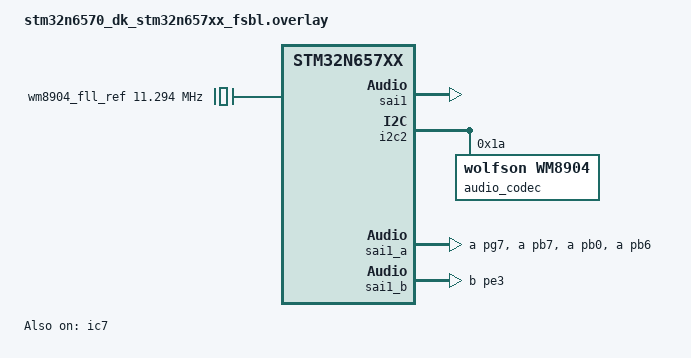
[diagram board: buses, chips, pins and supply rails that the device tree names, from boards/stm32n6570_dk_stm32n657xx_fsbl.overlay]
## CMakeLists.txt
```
# SPDX-License-Identifier: Apache-2.0

cmake_minimum_required(VERSION 3.20.0)

find_package(Zephyr REQUIRED HINTS $ENV{ZEPHYR_BASE})
project(echo-udp)

target_sources(app PRIVATE src/main.c)
```

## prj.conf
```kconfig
CONFIG_I2S=y
CONFIG_MAIN_STACK_SIZE=8192

CONFIG_LOG=y
#CONFIG_I2S_LOG_LEVEL_DBG=y
CONFIG_AUDIO_CODEC_LOG_LEVEL_DBG=y
```

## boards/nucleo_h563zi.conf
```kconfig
# SPDX-FileCopyrightText: Copyright The Zephyr Project Contributors
# SPDX-License-Identifier: Apache-2.0

CONFIG_HEAP_MEM_POOL_SIZE=8192
CONFIG_SHELL=y
CONFIG_I2S_SHELL=y
```

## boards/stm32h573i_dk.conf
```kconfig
# Copyright 2026 Mario Paja
# SPDX-License-Identifier: Apache-2.0

CONFIG_HEAP_MEM_POOL_SIZE=4096
CONFIG_GPIO=y
CONFIG_AUDIO=y
CONFIG_AUDIO_CODEC=y

CONFIG_NOCACHE_MEMORY=y

CONFIG_SHELL=y
CONFIG_I2S_SHELL=y
```

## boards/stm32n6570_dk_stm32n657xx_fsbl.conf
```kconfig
# Copyright 2026 Mario Paja
# SPDX-License-Identifier: Apache-2.0

CONFIG_HEAP_MEM_POOL_SIZE=4096
CONFIG_AUDIO=y
CONFIG_AUDIO_CODEC=y

CONFIG_NOCACHE_MEMORY=y

CONFIG_SHELL=y
CONFIG_I2S_SHELL=y

CONFIG_CLOCK_CONTROL_FIXED_RATE_CLOCK=y
```

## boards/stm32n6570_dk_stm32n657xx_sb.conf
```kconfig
# SPDX-FileCopyrightText: Copyright (c) 2026 STMicroelectronics
# SPDX-License-Identifier: Apache-2.0

CONFIG_HEAP_MEM_POOL_SIZE=4096
CONFIG_AUDIO=y
CONFIG_AUDIO_CODEC=y

CONFIG_NOCACHE_MEMORY=y

CONFIG_SHELL=y
CONFIG_I2S_SHELL=y
```

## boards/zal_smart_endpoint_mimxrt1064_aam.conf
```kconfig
##################### I2S Configuration #####################
CONFIG_DMA_TCD_QUEUE_SIZE=100
CONFIG_I2S_RX_BLOCK_COUNT=50
CONFIG_I2S_TX_BLOCK_COUNT=50

##################### Interface Configuration #####################
CONFIG_I2C=y
CONFIG_AUDIO=y
CONFIG_AUDIO_CODEC=y
```

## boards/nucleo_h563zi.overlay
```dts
/*
 * Copyright (c) 2025 ZAL Zentrum für Angewandte Luftfahrtforschung GmbH
 * Copyright (c) 2025 Mario Paja
 *
 * SPDX-License-Identifier: Apache-2.0
 */

/ {
	aliases {
		i2s-tx = &sai1_a;
	};
};

&pll3 {
	/* 44.1 KHz (0.0% Error) */
	div-m = <1>;
	mul-n = <35>;
	div-q = <2>;
	div-r = <2>;
	div-p = <25>;
	clocks = <&clk_hse>;
	status = "okay";
};

&sai1 {
	status = "okay";
	clocks = <&rcc STM32_CLOCK(APB2, 21)>,
		 <&rcc STM32_SRC_PLL3_P SAI1_SEL(2)>;
};

// TX: Master
i2s_tx: &sai1_a {
	pinctrl-0 = <&sai1_mclk_a_pe2 &sai1_sd_a_pe6
		     &sai1_fs_a_pe4 &sai1_sck_a_pe5>;
	pinctrl-names = "default";
	status = "okay";

	mclk-enable;
	mclk-divider = "div-256";
	dma-names = "tx";
};

// RX: Synchronous Slave
i2s_rx: &sai1_b {
	status = "okay";
	pinctrl-0 = <&sai1_sd_b_pe3>;
	pinctrl-names = "default";

	synchronous;
	dma-names = "rx";
	fifo-threshold="empty";
};



/*i2s_tx: &sai1_a {
	status = "okay";
	pinctrl-0 = <&sai1_sd_a_pe6>;
	pinctrl-names = "default";

	synchronous;
	dma-names = "tx";
	fifo-threshold="empty";
};


i2s_rx: &sai1_b {
	status = "okay";
	pinctrl-0 = <&sai1_mclk_b_pf7 &sai1_fs_b_pf9 &sai1_sck_b_pf8 &sai1_sd_b_pe3>;
	pinctrl-names = "default";

	mclk-enable;
	mclk-divider = "div-256";
	dma-names = "rx";
	fifo-threshold="empty";
};*/
```

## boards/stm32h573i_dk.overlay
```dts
/*
 * Copyright (c) 2026 Mario Paja
 *
 * SPDX-License-Identifier: Apache-2.0
 */

i2s_tx: &sai2_a {};

i2s_rx: &sai2_b {};
```

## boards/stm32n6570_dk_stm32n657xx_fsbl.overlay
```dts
/*
 * Copyright (c) 2026 Mario Paja
 * SPDX-License-Identifier: Apache-2.0
 */

/*
 * SAI1:
 * f_IC7 = 8.214 MHz (1.536 GHz / 187, +0.27%)
 * Suitable for 16 kHz audio sample rates with div-512 SAI MCLK divider
 * 8.214 MHz / 512 = 16.043 kHz
 *
 * f_IC7 = 11.294 MHz (1.536 GHz / 136, +0.04%)
 * Suitable for 44.1 kHz audio sample rates with div-256 SAI MCLK divider
 * 11.294 MHz / 256 = 44.117 kHz
 *
 * f_IC7 = 12.288 MHz (1.536 GHz / 125, 0.00%)
 * Suitable for 48 kHz audio sample rates with div-256 SAI MCLK divider
 * 12.288 MHz / 256 = 48.000 kHz
 */
&ic7 {
	status = "okay";
	pll-src = <2>; /* 4 */
	ic-div = <136>; /* 106 */
};

&sai1 {
	status = "okay";
	clocks = <&rcc STM32_CLOCK(APB2, 21)>,
		<&rcc STM32_SRC_IC7 SAI1_SEL(2)>;
	clock-names = "sai_ck", "sai_ker_ck";
};

&gpdma1 {
	status = "okay";
};

/ {
	wm8904_fll_ref: sai1a-mclk {
		compatible = "fixed-clock";

		/* 1.536 GHz / 136 */
		clock-frequency = <11294117>;
		#clock-cells = <0>;
	};
};

&i2c2 {
	audio_codec: wm8904@1a {
		compatible = "wolfson,wm8904";
		reg = <0x1a>;
		status = "okay";

		input-pga-select = <1>;
		wolfson,mic-bias-voltage = "avdd-9-10";
		
		clock-source = "FLL";
		clocks = <&wm8904_fll_ref>;
		clock-names = "mclk";
	};
};


i2s_tx: &sai1_a {
	status = "okay";
	pinctrl-0 = <&sai1_mclk_a_pg7 &sai1_sd_a_pb7
	     &sai1_fs_a_pb0 &sai1_sck_a_pb6>;
	pinctrl-names = "default";

	mclk-enable;
	mclk-divider = "div-256";
	dma-names = "tx";
	// fifo-threshold="empty";
};

i2s_rx: &sai1_b {
	status = "okay";
	pinctrl-0 = <&sai1_sd_b_pe3>;
	pinctrl-names = "default";

	synchronous;
	dma-names = "rx";
	// fifo-threshold="empty";
};
```

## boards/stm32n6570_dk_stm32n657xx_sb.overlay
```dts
/*
 * SPDX-FileCopyrightText: Copyright (c) 2026 STMicroelectronics
 * SPDX-License-Identifier: Apache-2.0
 */

/*
 * SAI1:
 * f_IC7 = 8.214 MHz (1.536 GHz / 187, +0.27%)
 * Suitable for 16 kHz audio sample rates with div-512 SAI MCLK divider
 * 8.214 MHz / 512 = 16.043 kHz
 *
 * f_IC7 = 11.294 MHz (1.536 GHz / 136, +0.04%)
 * Suitable for 44.1 kHz audio sample rates with div-256 SAI MCLK divider
 * 11.294 MHz / 256 = 44.117 kHz
 *
 * f_IC7 = 12.288 MHz (1.536 GHz / 125, 0.00%)
 * Suitable for 48 kHz audio sample rates with div-256 SAI MCLK divider
 * 12.288 MHz / 256 = 48.000 kHz
 */
&ic7 {
	status = "okay";
	pll-src = <2>; /* 4 */
	ic-div = <136>; /* 106 */
};

&sai1 {
	status = "okay";
	clocks = <&rcc STM32_CLOCK(APB2, 21)>,
		<&rcc STM32_SRC_IC7 SAI1_SEL(2)>;
	clock-names = "sai_ck", "sai_ker_ck";
};

&gpdma1 {
	status = "okay";
};

&i2c2 {
	audio_codec: wm8904@1a {
		compatible = "wolfson,wm8904";
		reg = <0x1a>;
		status = "okay";

		input-pga-select = <1>;
		wolfson,mic-bias-voltage = "avdd-9-10";
		
		fs-ratio = <256>;

		/* Dedend on #112540 */
		// fll-ref-clk = <11289660>;
		// clock-source = "FLL";
	};
};


i2s_tx: &sai1_a {
	status = "okay";
	pinctrl-0 = <&sai1_mclk_a_pg7 &sai1_sd_a_pb7
	     &sai1_fs_a_pb0 &sai1_sck_a_pb6>;
	pinctrl-names = "default";

	mclk-enable;
	mclk-divider = "div-256";
	dma-names = "tx";
	// fifo-threshold="empty";
};

i2s_rx: &sai1_b {
	status = "okay";
	pinctrl-0 = <&sai1_sd_b_pe3>;
	pinctrl-names = "default";

	synchronous;
	dma-names = "rx";
	// fifo-threshold="empty";
};
```

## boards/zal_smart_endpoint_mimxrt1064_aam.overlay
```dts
/*
 * Copyright (c) 2023 ZAL Zentrum für Angewandte Luftfahrtforschung GmbH
 * Copyright (c) 2023 Mario Paja
 */

audio_codec: &wm8904 {
	compatible = "wolfson,wm8904";
	reg = <0x1a>;

	//clock-source = "MCLK";
	clock-source = "FLL";

	clocks = <&ccm IMX_CCM_SAI1_CLK 0x7C 18>;
	clock-names = "mclk";
};

i2s_tx: &sai_tx{};
i2s_rx: &sai_rx{};
```

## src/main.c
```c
/*
 * Copyright (c) 2023 ZAL Zentrum für Angewandte Luftfahrtforschung GmbH
 * Copyright (c) 2023 Mario Paja
 */

#include <zephyr/logging/log.h>
LOG_MODULE_REGISTER(main, LOG_LEVEL_DBG);

#include <zephyr/kernel.h>
#include <zephyr/linker/sections.h>
#include <errno.h>
#include <stdio.h>
#include <string.h>

#include <zephyr/drivers/i2s.h>
#include <zephyr/audio/codec.h>
#include <zephyr/drivers/gpio.h>
#include <zephyr/device.h>

#include "math.h"

const struct device *const i2s_dev_rx = DEVICE_DT_GET(DT_NODELABEL(i2s_rx));
const struct device *const i2s_dev_tx = DEVICE_DT_GET(DT_NODELABEL(i2s_tx));

#ifdef CONFIG_AUDIO_CODEC
const struct device *const codec_dev = DEVICE_DT_GET(DT_NODELABEL(audio_codec));
#endif

#define SAMPLE_FREQUENCY   (44100)
#define SAMPLE_BIT_WIDTH   (16)
#define NUMBER_OF_CHANNELS (2U)
#define SAMPLES_PER_BLOCK  (256 * NUMBER_OF_CHANNELS)
#define INITIAL_BLOCKS     4
#define TIMEOUT            (1000)

#define NUM_BLOCKS INITIAL_BLOCKS * 2

#define BLOCK_SIZE (SAMPLES_PER_BLOCK * sizeof(int16_t))

static char __nocache __aligned(WB_UP(32)) _rxtx_mem_slab_buff[(NUM_BLOCKS)*WB_UP(BLOCK_SIZE)];
static char __nocache __aligned(WB_UP(32)) _rx_mem_slab_buff[(NUM_BLOCKS)*WB_UP(BLOCK_SIZE)];
static char __nocache __aligned(WB_UP(32)) _tx_mem_slab_buff[(NUM_BLOCKS)*WB_UP(BLOCK_SIZE)];

static STRUCT_SECTION_ITERABLE(k_mem_slab, rxtx_mem_slab) =
	Z_MEM_SLAB_INITIALIZER(rxtx_mem_slab, _rxtx_mem_slab_buff, WB_UP(BLOCK_SIZE), NUM_BLOCKS);

static STRUCT_SECTION_ITERABLE(k_mem_slab,
			       rx_mem_slab) = Z_MEM_SLAB_INITIALIZER(rx_mem_slab, _rx_mem_slab_buff,
								     WB_UP(BLOCK_SIZE), NUM_BLOCKS);

static STRUCT_SECTION_ITERABLE(k_mem_slab,
			       tx_mem_slab) = Z_MEM_SLAB_INITIALIZER(tx_mem_slab, _tx_mem_slab_buff,
								     WB_UP(BLOCK_SIZE), NUM_BLOCKS);

#define I2S_FORMAT I2S_FMT_DATA_FORMAT_I2S

static struct i2s_config i2s_rx_cfg;
static struct i2s_config i2s_tx_cfg;

static int configure_i2s_stream(const struct device *dev, enum i2s_dir dir, i2s_opt_t options,
				struct i2s_config *cfg)
{
	int ret;

	cfg->word_size = SAMPLE_BIT_WIDTH;
	cfg->channels = NUMBER_OF_CHANNELS;
	cfg->format = I2S_FORMAT;
	cfg->options = options;
	cfg->frame_clk_freq = SAMPLE_FREQUENCY;
	cfg->block_size = BLOCK_SIZE;

	cfg->timeout = TIMEOUT;

	// Separate Slabs
	if (dir == I2S_DIR_TX) {
		cfg->mem_slab = &tx_mem_slab;
	} else {
		cfg->mem_slab = &rx_mem_slab;
	}

	ret = i2s_configure(dev, dir, cfg);
	if (ret != 0) {
		LOG_ERR("i2s_configure failed for dir %d with %d error", dir, ret);
	}

	return ret;
}

#define I2S_CONTROLLER I2S_OPT_BIT_CLK_CONTROLLER | I2S_OPT_FRAME_CLK_CONTROLLER
#define I2S_TARGET     I2S_OPT_BIT_CLK_TARGET | I2S_OPT_FRAME_CLK_TARGET

int main(void)
{
	int ret;

	/* configure i2s for audio playback */
	configure_i2s_stream(i2s_dev_tx, I2S_DIR_TX, I2S_CONTROLLER, &i2s_tx_cfg);

	/* configure i2s for audio record */
	configure_i2s_stream(i2s_dev_rx, I2S_DIR_RX, I2S_TARGET, &i2s_rx_cfg);

	k_msleep(100);

#ifdef CONFIG_AUDIO_CODEC
	struct audio_codec_cfg audio_cfg;
	audio_cfg.dai_route = AUDIO_ROUTE_PLAYBACK_CAPTURE;
	audio_cfg.dai_type = AUDIO_DAI_TYPE_I2S;
	audio_cfg.dai_cfg.i2s.word_size = SAMPLE_BIT_WIDTH;
	audio_cfg.dai_cfg.i2s.channels = NUMBER_OF_CHANNELS;
	audio_cfg.dai_cfg.i2s.format = I2S_FORMAT;
	audio_cfg.dai_cfg.i2s.options = I2S_OPT_FRAME_CLK_TARGET;
	audio_cfg.dai_cfg.i2s.frame_clk_freq = SAMPLE_FREQUENCY;
	audio_cfg.dai_cfg.i2s.block_size = BLOCK_SIZE;
	audio_cfg.mclk_freq = (SAMPLE_FREQUENCY * 256);

	audio_codec_configure(codec_dev, &audio_cfg);

#endif

	for (int i = 0; i < 4; ++i) {
		void *mem_block;
		ret = k_mem_slab_alloc(&tx_mem_slab, &mem_block, K_NO_WAIT);
		memset(mem_block, 0, BLOCK_SIZE);
		ret = i2s_write(i2s_dev_tx, mem_block, BLOCK_SIZE);
	}

	ret = i2s_trigger(i2s_dev_rx, I2S_DIR_RX, I2S_TRIGGER_START);
	if (ret != 0) {
		LOG_ERR("i2s_trigger RX failed with %d error\n", ret);
	}

	ret = i2s_trigger(i2s_dev_tx, I2S_DIR_TX, I2S_TRIGGER_START);
	if (ret != 0) {
		LOG_ERR("i2s_trigger TX failed with %d error", ret);
		return ret;
	} 


	while (true) {
		uint32_t block_size;
		void *rx_block;
		void *tx_block;

		ret = i2s_read(i2s_dev_rx, &rx_block, &block_size);
		if (ret != 0) {
			LOG_ERR("i2s_read failed with %d error", ret);
			continue;
		}

		ret = k_mem_slab_alloc(&tx_mem_slab, &tx_block, K_NO_WAIT);
		if (ret != 0) {
			LOG_ERR("k_mem_slab_alloc failed with %d error", ret);
			k_mem_slab_free(&rx_mem_slab, rx_block);
			continue;
		}

		memcpy(tx_block, rx_block, block_size);
		k_mem_slab_free(&rx_mem_slab, rx_block);

		ret = i2s_write(i2s_dev_tx, tx_block, block_size);
		if (ret != 0) {
			LOG_ERR("i2s_write failed with %d error", ret);
		}
	}


	return 0;
}
```
